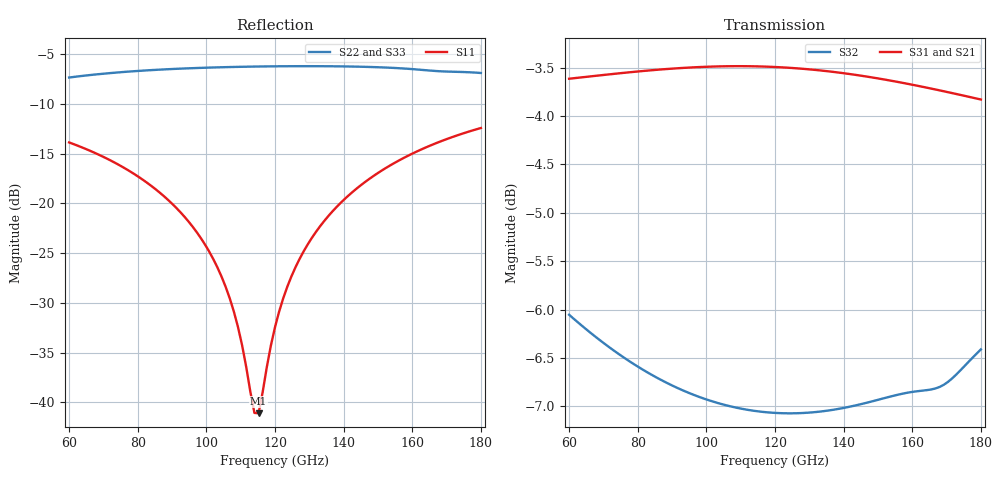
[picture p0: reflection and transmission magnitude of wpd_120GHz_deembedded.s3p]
! Created with skrf 2.2.0 (http://scikit-rf.org).
# GHz S DB R 50.0
! Port[1] = P1
! Port[2] = P2
! Port[3] = P3
!freq dBS11 angS11 dBS12 angS12 dBS13 angS13
! dBS21 angS21 dBS22 angS22 dBS23 angS23
! dBS31 angS31 dBS32 angS32 dBS33 angS33
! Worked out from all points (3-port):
!   101 points, 60 GHz to 180 GHz, reference 50 ohm
!   strongest paths, dB at 60 GHz, 90 GHz, 120 GHz, 150 GHz, 180 GHz:
!     S31: -3.6, -3.5, -3.5, -3.6, -3.8
!     S21: -3.6, -3.5, -3.5, -3.6, -3.8
!     S32: -6.1, -6.8, -7.1, -6.9, -6.4
!   lowest |S11| = -41.1 dB at 115.2 GHz (marker M1), VSWR 1.02, Z = 50.9 - j0.171 ohm
!   |S11| at or under -10 dB: start of sweep to end of sweep
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60  -13.87 133.7  -3.62 -44.0  -3.61 -44.0
    -3.62 -44.0  -7.34 49.1  -6.05 -98.1
    -3.61 -44.0  -6.05 -98.1  -7.35 49.1
81.6  -17.65 116.4  -3.54 -60.4  -3.53 -60.4
      -3.54 -60.4  -6.65 26.5  -6.62 -128.4
      -3.53 -60.4  -6.62 -128.4  -6.66 26.5
97.2  -22.89 101.7  -3.50 -72.4  -3.50 -72.4
      -3.50 -72.4  -6.39 12.9  -6.89 -149.6
      -3.50 -72.4  -6.89 -149.6  -6.40 12.9
106.8  -29.53 86.5  -3.49 -79.9  -3.49 -79.9
       -3.49 -79.9  -6.29 5.1  -7.00 -162.4
       -3.49 -79.9  -7.00 -162.4  -6.30 5.1
114  -41.05 22.7  -3.49 -85.5  -3.49 -85.5
     -3.49 -85.5  -6.24 -0.5  -7.05 -172.1
     -3.49 -85.5  -7.05 -172.1  -6.25 -0.5
115.2  -41.10 -11.0  -3.49 -86.5  -3.49 -86.5
       -3.49 -86.5  -6.24 -1.4  -7.05 -173.7
       -3.49 -86.5  -7.05 -173.7  -6.25 -1.4
120  -32.44 -67.9  -3.50 -90.2  -3.49 -90.2
     -3.50 -90.2  -6.22 -5.1  -7.07 179.9
     -3.49 -90.2  -7.07 179.9  -6.23 -5.1
127.2  -25.55 -84.9  -3.51 -95.9  -3.51 -95.9
       -3.51 -95.9  -6.20 -10.6  -7.07 170.2
       -3.51 -95.9  -7.07 170.2  -6.22 -10.6
139.2  -19.92 -98.3  -3.56 -105.3  -3.55 -105.3
       -3.56 -105.3  -6.22 -20.0  -7.02 154.0
       -3.55 -105.3  -7.02 154.0  -6.24 -20.0
180  -12.42 -131.0  -3.83 -136.4  -3.83 -136.4
     -3.83 -136.4  -6.89 -55.7  -6.41 98.5
     -3.83 -136.4  -6.41 98.5  -6.90 -55.6
